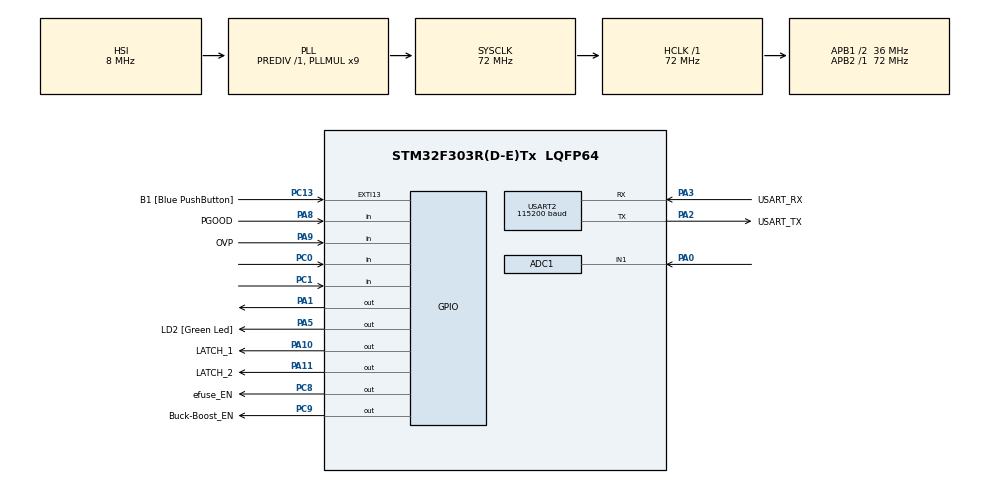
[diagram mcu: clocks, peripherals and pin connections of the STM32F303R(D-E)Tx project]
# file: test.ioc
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ADC1.Channel-6\#ChannelRegularConversion=ADC_CHANNEL_1
ADC1.ContinuousConvMode=ENABLE
ADC1.NbrOfConversionFlag=1
ADC1.Offset-6\#ChannelRegularConversion=0
ADC1.OffsetNumber-6\#ChannelRegularConversion=ADC_OFFSET_NONE
ADC1.Rank-6\#ChannelRegularConversion=1
ADC1.SamplingTime-6\#ChannelRegularConversion=ADC_SAMPLETIME_1CYCLE_5
ADC1.SamplingTimeOPAMP-6\#ChannelRegularConversion=ADC_SAMPLETIME_61CYCLES_5
ADC1.master=1
Mcu.Family=STM32F3
Mcu.Name=STM32F303R(D-E)Tx
Mcu.Package=LQFP64
NVIC.PriorityGroup=NVIC_PRIORITYGROUP_0
PA0.Mode=IN1-Single-Ended
PA0.Signal=ADC1_IN1
PA1.Signal=GPIO_Output
PA10.GPIO_Label=LATCH_1
PA10.GPIO_PuPd=GPIO_PULLUP
PA10.GPIO_Speed=GPIO_SPEED_FREQ_HIGH
PA10.PinState=GPIO_PIN_SET
PA10.Signal=GPIO_Output
PA11.GPIO_Label=LATCH_2
PA11.GPIO_PuPd=GPIO_PULLUP
PA11.GPIO_Speed=GPIO_SPEED_FREQ_HIGH
PA11.PinState=GPIO_PIN_SET
PA11.Signal=GPIO_Output
PA13.GPIO_Label=TMS
PA13.Mode=Serial_Wire
PA13.Signal=SYS_JTMS-SWDIO
PA14.GPIO_Label=TCK
PA14.Mode=Serial_Wire
PA14.Signal=SYS_JTCK-SWCLK
PA2.GPIO_Label=USART_TX
PA2.GPIO_Mode=GPIO_MODE_AF_PP
PA2.GPIO_PuPd=GPIO_NOPULL
PA2.GPIO_Speed=GPIO_SPEED_FREQ_LOW
PA2.Mode=Asynchronous
PA2.Signal=USART2_TX
PA3.GPIO_Label=USART_RX
PA3.GPIO_Mode=GPIO_MODE_AF_PP
PA3.GPIO_PuPd=GPIO_NOPULL
PA3.GPIO_Speed=GPIO_SPEED_FREQ_LOW
PA3.Mode=Asynchronous
PA3.Signal=USART2_RX
PA5.GPIO_Label=LD2 [Green Led]
PA5.GPIO_Mode=GPIO_MODE_OUTPUT_PP
PA5.GPIO_PuPd=GPIO_NOPULL
PA5.GPIO_Speed=GPIO_SPEED_FREQ_LOW
PA5.Signal=GPIO_Output
PA8.GPIO_Label=PGOOD
PA8.GPIO_PuPd=GPIO_PULLUP
PA8.Signal=GPIO_Input
PA9.GPIO_Label=OVP
PA9.GPIO_PuPd=GPIO_PULLDOWN
PA9.Signal=GPIO_Input
PB3.GPIO_Label=SWO
PB3.Signal=SYS_JTDO-TRACESWO
PC0.Signal=GPIO_Input
PC1.Signal=GPIO_Input
PC13.GPIO_Label=B1 [Blue PushButton]
PC13.GPIO_ModeDefaultEXTI=GPIO_MODE_IT_FALLING
PC13.Signal=GPXTI13
PC14-OSC32_IN.Mode=LSE-External-Oscillator
PC14-OSC32_IN.Signal=RCC_OSC32_IN
PC15-OSC32_OUT.Mode=LSE-External-Oscillator
PC15-OSC32_OUT.Signal=RCC_OSC32_OUT
PC8.GPIO_Label=efuse_EN
PC8.GPIO_PuPd=GPIO_PULLUP
PC8.GPIO_Speed=GPIO_SPEED_FREQ_HIGH
PC8.PinState=GPIO_PIN_SET
PC8.Signal=GPIO_Output
PC9.GPIO_Label=Buck-Boost_EN
PC9.GPIO_PuPd=GPIO_PULLUP
PC9.GPIO_Speed=GPIO_SPEED_FREQ_HIGH
PC9.PinState=GPIO_PIN_SET
PC9.Signal=GPIO_Output
PF0-OSC_IN.Mode=HSE-External-Clock-Source
PF0-OSC_IN.Signal=RCC_OSC_IN
PF1-OSC_OUT.Signal=RCC_OSC_OUT
ProjectManager.HeapSize=0x200
ProjectManager.StackSize=0x400
ProjectManager.TargetToolchain=STM32CubeIDE
RCC.AHBFreq_Value=72000000
RCC.APB1CLKDivider=RCC_HCLK_DIV2
RCC.APB1Freq_Value=36000000
RCC.APB1TimFreq_Value=72000000
RCC.APB2Freq_Value=72000000
RCC.APB2TimFreq_Value=72000000
RCC.CortexFreq_Value=72000000
RCC.HCLKFreq_Value=72000000
RCC.HSE_VALUE=8000000
RCC.HSI_VALUE=8000000
RCC.PLLM=8
RCC.PLLMUL=RCC_PLL_MUL9
RCC.PLLN=336
RCC.PLLP=RCC_PLLP_DIV4
RCC.PLLQ=7
RCC.RCC_PLLsource_Clock_Source_FROM_HSE=RCC_HSE_PREDIV_DIV2
RCC.SYSCLKFreq_VALUE=72000000
RCC.SYSCLKSourceVirtual=RCC_SYSCLKSOURCE_PLLCLK
RCC.USBFreq_Value=72000000
USART2.BaudRate=115200
USART2.VirtualMode-Asynchronous=VM_ASYNC
board=NUCLEO-F303RE

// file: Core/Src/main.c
/* USER CODE BEGIN Header */
/**
  ******************************************************************************
  * @file           : main.c
  * @brief          : Main program body
  ******************************************************************************
  * @attention
  *
  * Copyright (c) 2025 STMicroelectronics.
  * All rights reserved.
  *
  * This software is licensed under terms that can be found in the LICENSE file
  * in the root directory of this software component.
  * If no LICENSE file comes with this software, it is provided AS-IS.
  *
  ******************************************************************************
  */
/* USER CODE END Header */
#include "main.h"

/* USER CODE BEGIN Includes */
#include <stdio.h>
#include <string.h>
#include <stdbool.h>
/* USER CODE END Includes */

ADC_HandleTypeDef hadc1;

UART_HandleTypeDef huart2;

/* USER CODE BEGIN PV */
uint16_t adc_values[2];			// define adc_value
/* USER CODE END PV */

void SystemClock_Config(void);
static void MX_GPIO_Init(void);
static void MX_USART2_UART_Init(void);
static void MX_ADC1_Init(void);

/* USER CODE BEGIN 0 */
char msg[30];
uint8_t data_1;

/* USER CODE END 0 */

int main(void)
{

  /* MCU Configuration--------------------------------------------------------*/

  /* Reset of all peripherals, Initializes the Flash interface and the Systick. */
  HAL_Init();

  /* Configure the system clock */
  SystemClock_Config();

  /* Initialize all configured peripherals */
  MX_GPIO_Init();
  MX_USART2_UART_Init();
  MX_ADC1_Init();
  /* USER CODE BEGIN 2 */
  HAL_GPIO_WritePin(GPIOA, GPIO_PIN_1, GPIO_PIN_SET);
  HAL_Delay(5000);

  /* USER CODE END 2 */

  /* Infinite loop */
  while (1)
  {

    /* USER CODE BEGIN 3 */

	  HAL_ADC_Start(&hadc1);
	  HAL_ADC_PollForConversion(&hadc1, HAL_MAX_DELAY);
	  adc_values[0] = HAL_ADC_GetValue(&hadc1);

	  bool pgood = HAL_GPIO_ReadPin(GPIOC, GPIO_PIN_0);
	  bool ovp = HAL_GPIO_ReadPin(GPIOC, GPIO_PIN_1);

	  if ((pgood && ovp) == 0){
		  HAL_GPIO_WritePin(GPIOA, GPIO_PIN_1 , GPIO_PIN_RESET);
		  data_1 = 0;
	  }
	  else {
		  HAL_GPIO_WritePin(GPIOA, GPIO_PIN_1 , GPIO_PIN_SET);
	  data_1 = 1;
	  }

	  HAL_Delay(1000);

//	  	  if(adc_values[1] < 3000){
//	  		  HAL_GPIO_WritePin(GPIOA, GPIO_PIN_1 , GPIO_PIN_RESET);
//	  		  data_1 = 0;
//	  	  }
//	  	  	else {
//	  	  		HAL_GPIO_WritePin(GPIOA, GPIO_PIN_1, GPIO_PIN_SET);
//	  	  		data_1 = 1;
//	  	  		HAL_GPIO_TogglePin(LD2_GPIO_Port, LD2_Pin);
//	  	  	}
//
//	  HAL_ADC_Start(&hadc2);
//	  HAL_ADC_PollForConversion(&hadc2, HAL_MAX_DELAY);
//	  adc_values[1] = HAL_ADC_GetValue(&hadc2);
//

	  snprintf(msg, sizeof(msg), "/*%d; %d; %d*/\r\n", pgood, ovp, adc_values[1]);

	  // Transmit the message over UART
	  HAL_UART_Transmit(&huart2, (uint8_t*)msg, strlen(msg), HAL_MAX_DELAY);

	  HAL_Delay(100);

  }
  /* USER CODE END 3 */
}

void SystemClock_Config(void)
{
  RCC_OscInitTypeDef RCC_OscInitStruct = {0};
  RCC_ClkInitTypeDef RCC_ClkInitStruct = {0};
  RCC_PeriphCLKInitTypeDef PeriphClkInit = {0};

  /** Initializes the RCC Oscillators according to the specified parameters
  * in the RCC_OscInitTypeDef structure.
  */
  RCC_OscInitStruct.OscillatorType = RCC_OSCILLATORTYPE_HSI;
  RCC_OscInitStruct.HSIState = RCC_HSI_ON;
  RCC_OscInitStruct.HSICalibrationValue = RCC_HSICALIBRATION_DEFAULT;
  RCC_OscInitStruct.PLL.PLLState = RCC_PLL_ON;
  RCC_OscInitStruct.PLL.PLLSource = RCC_PLLSOURCE_HSI;
  RCC_OscInitStruct.PLL.PLLMUL = RCC_PLL_MUL9;
  RCC_OscInitStruct.PLL.PREDIV = RCC_PREDIV_DIV1;
  if (HAL_RCC_OscConfig(&RCC_OscInitStruct) != HAL_OK)
  {
    Error_Handler();
  }

  /** Initializes the CPU, AHB and APB buses clocks
  */
  RCC_ClkInitStruct.ClockType = RCC_CLOCKTYPE_HCLK|RCC_CLOCKTYPE_SYSCLK
                              |RCC_CLOCKTYPE_PCLK1|RCC_CLOCKTYPE_PCLK2;
  RCC_ClkInitStruct.SYSCLKSource = RCC_SYSCLKSOURCE_PLLCLK;
  RCC_ClkInitStruct.AHBCLKDivider = RCC_SYSCLK_DIV1;
  RCC_ClkInitStruct.APB1CLKDivider = RCC_HCLK_DIV2;
  RCC_ClkInitStruct.APB2CLKDivider = RCC_HCLK_DIV1;

  if (HAL_RCC_ClockConfig(&RCC_ClkInitStruct, FLASH_LATENCY_2) != HAL_OK)
  {
    Error_Handler();
  }
  PeriphClkInit.PeriphClockSelection = RCC_PERIPHCLK_USART2|RCC_PERIPHCLK_ADC12;
  PeriphClkInit.Usart2ClockSelection = RCC_USART2CLKSOURCE_PCLK1;
  PeriphClkInit.Adc12ClockSelection = RCC_ADC12PLLCLK_DIV1;
  if (HAL_RCCEx_PeriphCLKConfig(&PeriphClkInit) != HAL_OK)
  {
    Error_Handler();
  }
}

static void MX_ADC1_Init(void)
{

  ADC_MultiModeTypeDef multimode = {0};
  ADC_ChannelConfTypeDef sConfig = {0};

  /** Common config
  */
  hadc1.Instance = ADC1;
  hadc1.Init.ClockPrescaler = ADC_CLOCK_ASYNC_DIV1;
  hadc1.Init.Resolution = ADC_RESOLUTION_12B;
  hadc1.Init.ScanConvMode = ADC_SCAN_DISABLE;
  hadc1.Init.ContinuousConvMode = ENABLE;
  hadc1.Init.DiscontinuousConvMode = DISABLE;
  hadc1.Init.ExternalTrigConvEdge = ADC_EXTERNALTRIGCONVEDGE_NONE;
  hadc1.Init.ExternalTrigConv = ADC_SOFTWARE_START;
  hadc1.Init.DataAlign = ADC_DATAALIGN_RIGHT;
  hadc1.Init.NbrOfConversion = 1;
  hadc1.Init.DMAContinuousRequests = DISABLE;
  hadc1.Init.EOCSelection = ADC_EOC_SINGLE_CONV;
  hadc1.Init.LowPowerAutoWait = DISABLE;
  hadc1.Init.Overrun = ADC_OVR_DATA_OVERWRITTEN;
  if (HAL_ADC_Init(&hadc1) != HAL_OK)
  {
    Error_Handler();
  }

  /** Configure the ADC multi-mode
  */
  multimode.Mode = ADC_MODE_INDEPENDENT;
  if (HAL_ADCEx_MultiModeConfigChannel(&hadc1, &multimode) != HAL_OK)
  {
    Error_Handler();
  }

  /** Configure Regular Channel
  */
  sConfig.Channel = ADC_CHANNEL_1;
  sConfig.Rank = ADC_REGULAR_RANK_1;
  sConfig.SingleDiff = ADC_SINGLE_ENDED;
  sConfig.SamplingTime = ADC_SAMPLETIME_1CYCLE_5;
  sConfig.OffsetNumber = ADC_OFFSET_NONE;
  sConfig.Offset = 0;
  if (HAL_ADC_ConfigChannel(&hadc1, &sConfig) != HAL_OK)
  {
    Error_Handler();
  }

}

static void MX_USART2_UART_Init(void)
{

  huart2.Instance = USART2;
  huart2.Init.BaudRate = 115200;
  huart2.Init.WordLength = UART_WORDLENGTH_8B;
  huart2.Init.StopBits = UART_STOPBITS_1;
  huart2.Init.Parity = UART_PARITY_NONE;
  huart2.Init.Mode = UART_MODE_TX_RX;
  huart2.Init.HwFlowCtl = UART_HWCONTROL_NONE;
  huart2.Init.OverSampling = UART_OVERSAMPLING_16;
  huart2.Init.OneBitSampling = UART_ONE_BIT_SAMPLE_DISABLE;
  huart2.AdvancedInit.AdvFeatureInit = UART_ADVFEATURE_NO_INIT;
  if (HAL_UART_Init(&huart2) != HAL_OK)
  {
    Error_Handler();
  }

}

static void MX_GPIO_Init(void)
{
  GPIO_InitTypeDef GPIO_InitStruct = {0};

  /* GPIO Ports Clock Enable */
  __HAL_RCC_GPIOC_CLK_ENABLE();
  __HAL_RCC_GPIOF_CLK_ENABLE();
  __HAL_RCC_GPIOA_CLK_ENABLE();
  __HAL_RCC_GPIOB_CLK_ENABLE();

  /*Configure GPIO pin Output Level */
  HAL_GPIO_WritePin(GPIOA, GPIO_PIN_1|LD2_Pin, GPIO_PIN_RESET);

  /*Configure GPIO pin Output Level */
  HAL_GPIO_WritePin(GPIOC, efuse_EN_Pin|Buck_Boost_EN_Pin, GPIO_PIN_SET);

  /*Configure GPIO pin Output Level */
  HAL_GPIO_WritePin(GPIOA, LATCH_1_Pin|LATCH_2_Pin, GPIO_PIN_SET);

  /*Configure GPIO pin : B1_Pin */
  GPIO_InitStruct.Pin = B1_Pin;
  GPIO_InitStruct.Mode = GPIO_MODE_IT_FALLING;
  GPIO_InitStruct.Pull = GPIO_NOPULL;
  HAL_GPIO_Init(B1_GPIO_Port, &GPIO_InitStruct);

  /*Configure GPIO pins : PC0 PC1 */
  GPIO_InitStruct.Pin = GPIO_PIN_0|GPIO_PIN_1;
  GPIO_InitStruct.Mode = GPIO_MODE_INPUT;
  GPIO_InitStruct.Pull = GPIO_NOPULL;
  HAL_GPIO_Init(GPIOC, &GPIO_InitStruct);

  /*Configure GPIO pins : PA1 LD2_Pin */
  GPIO_InitStruct.Pin = GPIO_PIN_1|LD2_Pin;
  GPIO_InitStruct.Mode = GPIO_MODE_OUTPUT_PP;
  GPIO_InitStruct.Pull = GPIO_NOPULL;
  GPIO_InitStruct.Speed = GPIO_SPEED_FREQ_LOW;
  HAL_GPIO_Init(GPIOA, &GPIO_InitStruct);

  /*Configure GPIO pins : efuse_EN_Pin Buck_Boost_EN_Pin */
  GPIO_InitStruct.Pin = efuse_EN_Pin|Buck_Boost_EN_Pin;
  GPIO_InitStruct.Mode = GPIO_MODE_OUTPUT_PP;
  GPIO_InitStruct.Pull = GPIO_PULLUP;
  GPIO_InitStruct.Speed = GPIO_SPEED_FREQ_HIGH;
  HAL_GPIO_Init(GPIOC, &GPIO_InitStruct);

  /*Configure GPIO pin : PGOOD_Pin */
  GPIO_InitStruct.Pin = PGOOD_Pin;
  GPIO_InitStruct.Mode = GPIO_MODE_INPUT;
  GPIO_InitStruct.Pull = GPIO_PULLUP;
  HAL_GPIO_Init(PGOOD_GPIO_Port, &GPIO_InitStruct);

  /*Configure GPIO pin : OVP_Pin */
  GPIO_InitStruct.Pin = OVP_Pin;
  GPIO_InitStruct.Mode = GPIO_MODE_INPUT;
  GPIO_InitStruct.Pull = GPIO_PULLDOWN;
  HAL_GPIO_Init(OVP_GPIO_Port, &GPIO_InitStruct);

  /*Configure GPIO pins : LATCH_1_Pin LATCH_2_Pin */
  GPIO_InitStruct.Pin = LATCH_1_Pin|LATCH_2_Pin;
  GPIO_InitStruct.Mode = GPIO_MODE_OUTPUT_PP;
  GPIO_InitStruct.Pull = GPIO_PULLUP;
  GPIO_InitStruct.Speed = GPIO_SPEED_FREQ_HIGH;
  HAL_GPIO_Init(GPIOA, &GPIO_InitStruct);

}

void Error_Handler(void)
{
  __disable_irq();
  while (1)
  {
  }
}
